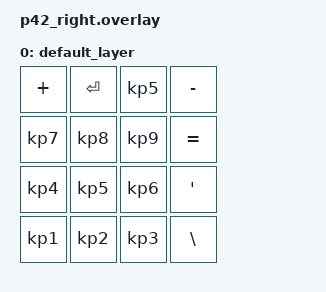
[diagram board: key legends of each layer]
/*
 * Copyright (c) 2020 ZMK Contributors
 *
 * SPDX-License-Identifier: MIT
 */

#include "p42.dtsi"


&kscan0 {
    diode-direction = "col2row";
    col-gpios
        = <&gpio0 15 GPIO_ACTIVE_HIGH>
        , <&gpio0 31 GPIO_ACTIVE_HIGH>
        , <&gpio0 30 GPIO_ACTIVE_HIGH>
        , <&gpio0 29 GPIO_ACTIVE_HIGH>
        ;

      row-gpios = <
        &gpio0 20 (GPIO_PULL_DOWN | GPIO_ACTIVE_HIGH)
        &gpio0 17 (GPIO_PULL_DOWN | GPIO_ACTIVE_HIGH)
        &gpio0 0 (GPIO_PULL_DOWN | GPIO_ACTIVE_HIGH)
        &gpio0 4 (GPIO_PULL_DOWN | GPIO_ACTIVE_HIGH)
        >;
};

// 在 overlay 中追加 layer
// p42_right.overlay 末尾


/ {
    chosen {
        zmk,kscan = &kscan0;
        zmk,matrix-transform = &default_transform;
    };

    default_transform: matrix_transform {
        compatible = "zmk,matrix-transform";
        rows = <4>;
        columns = <4>;
        map = <
            RC(0,0)  RC(0,1)  RC(0,2)  RC(0,3)
            RC(1,0)  RC(1,1)  RC(1,2)  RC(1,3)
            RC(2,0)  RC(2,1)  RC(2,2)  RC(2,3)
            RC(3,0)  RC(3,1)  RC(3,2)  RC(3,3)
        >;
    };

};
// &default_transform {
//     col-offset = <7>;
// };
#include <dt-bindings/zmk/keys.h>
/ {
    keymap: keymap {
        compatible = "zmk,keymap";

             default_layer {
            bindings = <
               &kp PLUS   &kp RET    &kp KP_N5  &kp MINUS
               &kp KP_N7  &kp KP_N8  &kp KP_N9  &kp EQUAL
               &kp KP_N4  &kp KP_N5  &kp KP_N6  &kp SQT
               &kp KP_N1  &kp KP_N2  &kp KP_N3  &kp BSLH
            >;
        };
    };
};

/ {
    lfclk: lfclk {
        compatible = "fixed-clock";
        clock-frequency = <32768>;
        #clock-cells = <0>;
        status = "okay";
    };
};



#include "donki36__esb_addr.dtsi"


/ {
    soc {
        pin-controller {
            #binding-cells = <0>;
        };
    };
};
